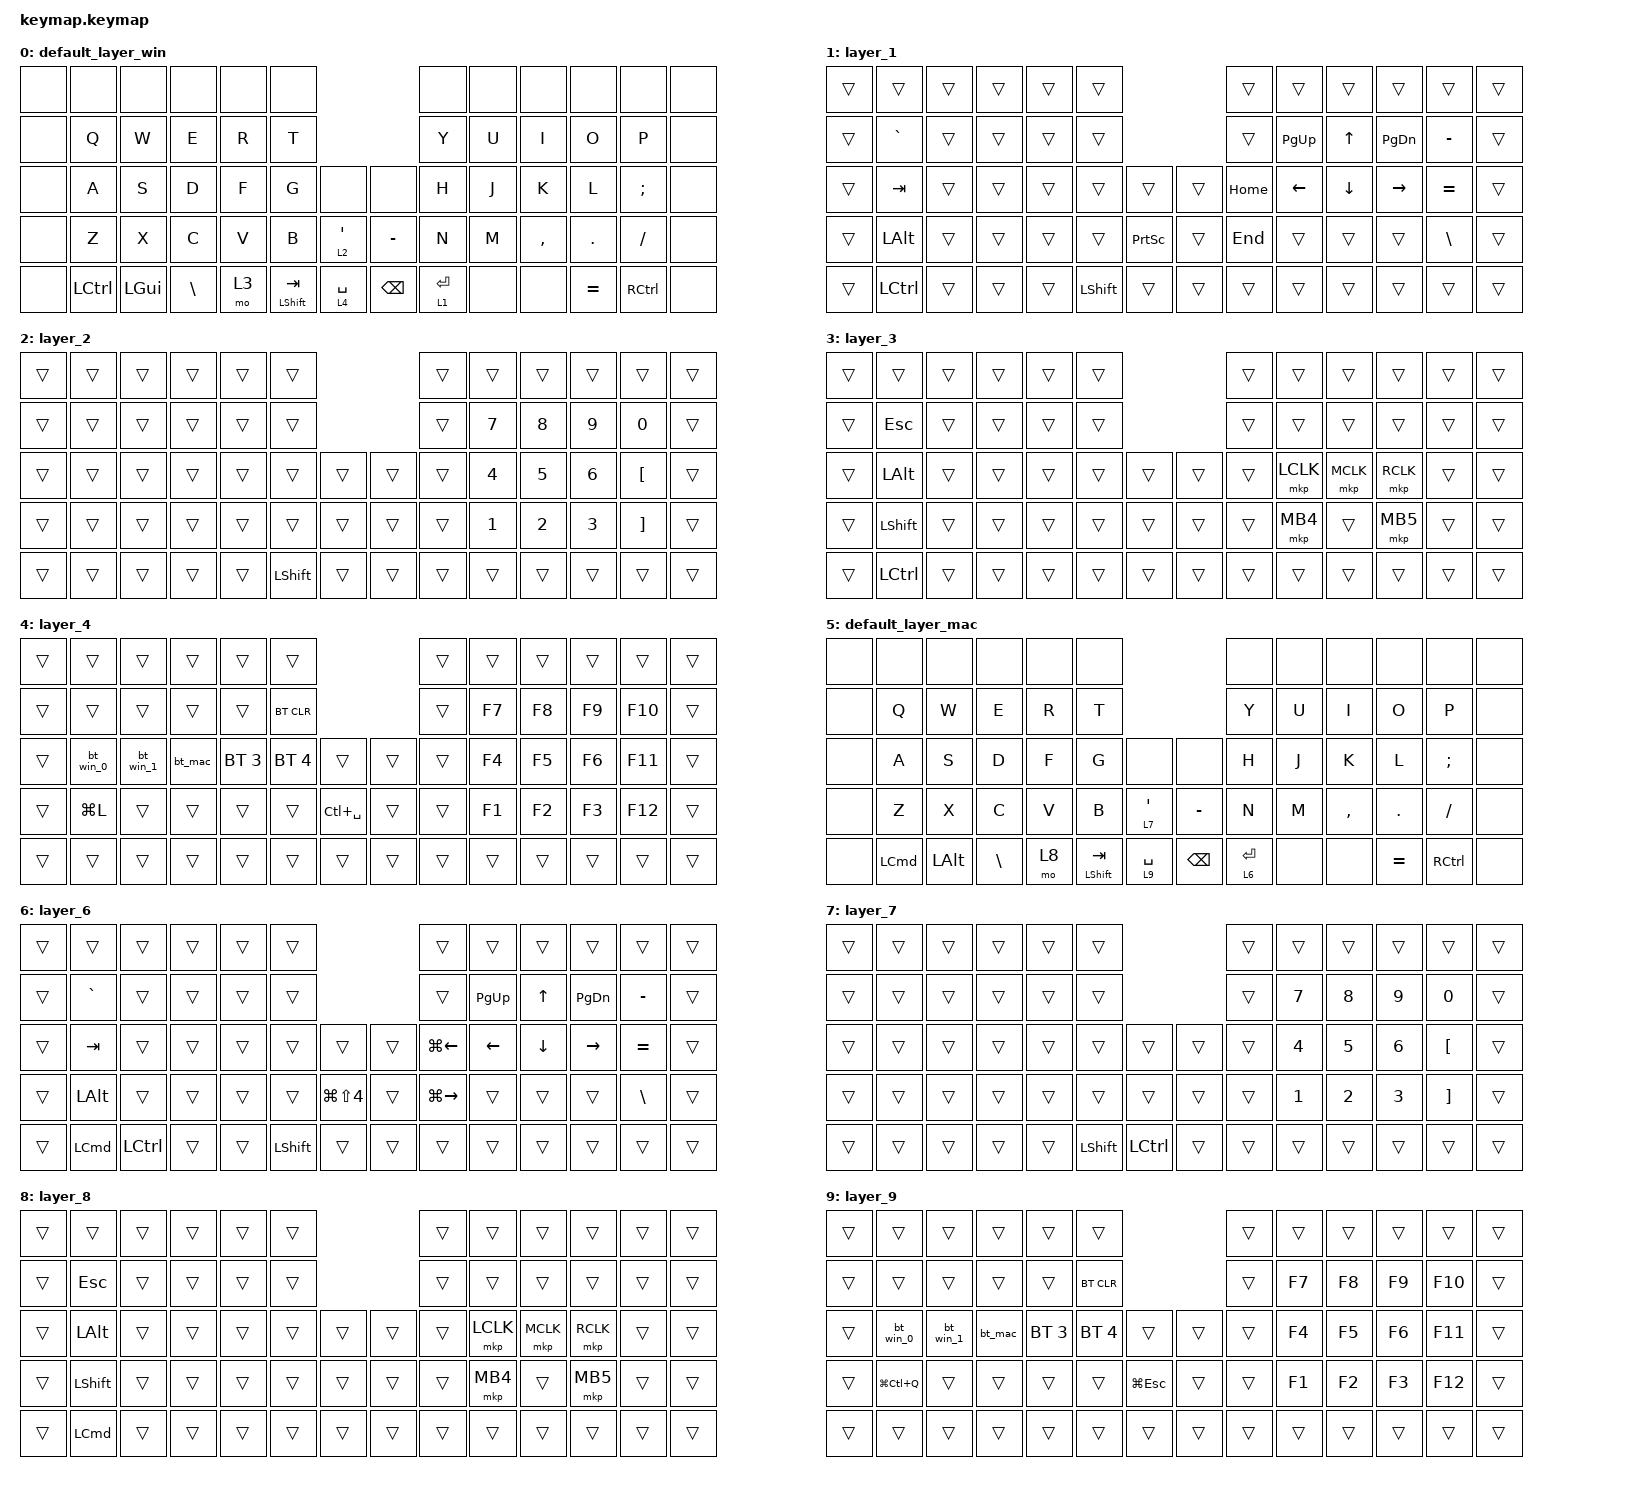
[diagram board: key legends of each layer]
#include <behaviors.dtsi>
#include <dt-bindings/zmk/bt.h>
#include <dt-bindings/zmk/keys.h>
#include <dt-bindings/zmk/pointing.h>

/ {
    zip_mouse_gesture_for_win: zip_mouse_gesture_for_win {
        compatible = "zmk,input-processor-mouse-gesture";
        #input-processor-cells = <0>;
        enable-eager-mode;

        prev_tab {
            pattern = <GESTURE_RIGHT>;
            bindings = <&kp LC(LS(TAB))>;
        };

        next_tab {
            pattern = <GESTURE_LEFT>;
            bindings = <&kp LC(TAB)>;
        };

        vdesk {
            pattern = <GESTURE_DOWN>;
            bindings = <&kp LG(TAB)>;
        };

        vdesk_send_next {
            pattern = <GESTURE_UP>;
            bindings = <&kp LG(LC(LS(RIGHT)))>;
        };
    };

    zip_mouse_gesture_for_mac: zip_mouse_gesture_for_mac {
        compatible = "zmk,input-processor-mouse-gesture";
        #input-processor-cells = <0>;
        enable-eager-mode;

        vdesk_prev {
            pattern = <GESTURE_RIGHT>;
            bindings = <&kp LC(LEFT)>;
        };

        vdesk_next {
            pattern = <GESTURE_LEFT>;
            bindings = <&kp LC(RIGHT)>;
        };

        vdesk {
            pattern = <GESTURE_DOWN>;
            bindings = <&kp LC(UP)>;
        };

        vdesk_down {
            pattern = <GESTURE_UP>;
            bindings = <&kp LC(DOWN)>;
        };
    };

    combos { compatible = "zmk,combos"; };

    macros {
        bt_mac: bt_mac {
            compatible = "zmk,behavior-macro";
            #binding-cells = <0>;
            bindings = <&bt BT_SEL 2 &to 5>;
            label = "BT_MAC";
        };

        bt_win_0: bt_win_0 {
            compatible = "zmk,behavior-macro";
            #binding-cells = <0>;
            bindings = <&bt BT_SEL 0 &to 0>;
            label = "BT_WIN_0";
        };

        bt_win_1: bt_win_1 {
            compatible = "zmk,behavior-macro";
            #binding-cells = <0>;
            bindings = <&bt BT_SEL 1 &to 0>;
            label = "BT_WIN_1";
        };
    };

    keymap {
        compatible = "zmk,keymap";

        default_layer_win {
            bindings = <
&none  &none      &none     &none          &none  &none                                           &none        &none  &none      &none      &none      &none
&none  &kp Q      &kp W     &kp E          &kp R  &kp T                                           &kp Y        &kp U  &kp I      &kp O      &kp P      &none
&none  &kp A      &kp S     &kp D          &kp F  &kp G               &none        &none          &kp H        &kp J  &kp K      &kp L      &kp SEMI   &none
&none  &kp Z      &kp X     &kp C          &kp V  &kp B               &lt 2 SQT    &kp MINUS      &kp N        &kp M  &kp COMMA  &kp DOT    &kp SLASH  &none
&none  &kp LCTRL  &kp LGUI  &kp BACKSLASH  &mo 3  &mt LEFT_SHIFT TAB  &lt 4 SPACE  &kp BACKSPACE  &lt 1 ENTER  &none  &none      &kp EQUAL  &kp RCTRL  &none
            >;
        };

        layer_1 {
            bindings = <
&trans  &trans     &trans  &trans  &trans  &trans                                   &trans    &trans     &trans    &trans         &trans         &trans
&trans  &kp GRAVE  &trans  &trans  &trans  &trans                                   &trans    &kp PG_UP  &kp UP    &kp PAGE_DOWN  &kp MINUS      &trans
&trans  &kp TAB    &trans  &trans  &trans  &trans          &trans           &trans  &kp HOME  &kp LEFT   &kp DOWN  &kp RIGHT      &kp EQUAL      &trans
&trans  &kp LALT   &trans  &trans  &trans  &trans          &kp PRINTSCREEN  &trans  &kp END   &trans     &trans    &trans         &kp BACKSLASH  &trans
&trans  &kp LCTRL  &trans  &trans  &trans  &kp LEFT_SHIFT  &trans           &trans  &trans    &trans     &trans    &trans         &trans         &trans
            >;
        };

        layer_2 {
            bindings = <
&trans  &trans  &trans  &trans  &trans  &trans                      &trans  &trans        &trans        &trans        &trans             &trans
&trans  &trans  &trans  &trans  &trans  &trans                      &trans  &kp N7        &kp N8        &kp N9        &kp N0             &trans
&trans  &trans  &trans  &trans  &trans  &trans      &trans  &trans  &trans  &kp NUMBER_4  &kp N5        &kp NUMBER_6  &kp LEFT_BRACKET   &trans
&trans  &trans  &trans  &trans  &trans  &trans      &trans  &trans  &trans  &kp NUMBER_1  &kp NUMBER_2  &kp NUMBER_3  &kp RIGHT_BRACKET  &trans
&trans  &trans  &trans  &trans  &trans  &kp LSHIFT  &trans  &trans  &trans  &trans        &trans        &trans        &trans             &trans
            >;
        };

        layer_3 {
            bindings = <
&trans  &trans          &trans  &trans  &trans  &trans                  &trans  &trans     &trans     &trans     &trans  &trans
&trans  &kp ESCAPE      &trans  &trans  &trans  &trans                  &trans  &trans     &trans     &trans     &trans  &trans
&trans  &kp LEFT_ALT    &trans  &trans  &trans  &trans  &trans  &trans  &trans  &mkp LCLK  &mkp MCLK  &mkp RCLK  &trans  &trans
&trans  &kp LEFT_SHIFT  &trans  &trans  &trans  &trans  &trans  &trans  &trans  &mkp MB4   &trans     &mkp MB5   &trans  &trans
&trans  &kp LCTRL       &trans  &trans  &trans  &trans  &trans  &trans  &trans  &trans     &trans     &trans     &trans  &trans
            >;
        };

        layer_4 {
            bindings = <
&trans  &trans     &trans     &trans   &trans        &trans                               &trans  &trans  &trans  &trans  &trans   &trans
&trans  &trans     &trans     &trans   &trans        &bt BT_CLR                           &trans  &kp F7  &kp F8  &kp F9  &kp F10  &trans
&trans  &bt_win_0  &bt_win_1  &bt_mac  &bt BT_SEL 3  &bt BT_SEL 4  &trans         &trans  &trans  &kp F4  &kp F5  &kp F6  &kp F11  &trans
&trans  &kp LG(L)  &trans     &trans   &trans        &trans        &kp LC(SPACE)  &trans  &trans  &kp F1  &kp F2  &kp F3  &kp F12  &trans
&trans  &trans     &trans     &trans   &trans        &trans        &trans         &trans  &trans  &trans  &trans  &trans  &trans   &trans
            >;
        };

        default_layer_mac {
            bindings = <
&none  &none             &none     &none          &none  &none                                           &none        &none  &none      &none      &none      &none
&none  &kp Q             &kp W     &kp E          &kp R  &kp T                                           &kp Y        &kp U  &kp I      &kp O      &kp P      &none
&none  &kp A             &kp S     &kp D          &kp F  &kp G               &none        &none          &kp H        &kp J  &kp K      &kp L      &kp SEMI   &none
&none  &kp Z             &kp X     &kp C          &kp V  &kp B               &lt 7 SQT    &kp MINUS      &kp N        &kp M  &kp COMMA  &kp DOT    &kp SLASH  &none
&none  &kp LEFT_COMMAND  &kp LALT  &kp BACKSLASH  &mo 8  &mt LEFT_SHIFT TAB  &lt 9 SPACE  &kp BACKSPACE  &lt 6 ENTER  &none  &none      &kp EQUAL  &kp RCTRL  &none
            >;
        };

        layer_6 {
            bindings = <
&trans  &trans            &trans     &trans  &trans  &trans                                        &trans         &trans     &trans    &trans         &trans         &trans
&trans  &kp GRAVE         &trans     &trans  &trans  &trans                                        &trans         &kp PG_UP  &kp UP    &kp PAGE_DOWN  &kp MINUS      &trans
&trans  &kp TAB           &trans     &trans  &trans  &trans          &trans                &trans  &kp LG(LEFT)   &kp LEFT   &kp DOWN  &kp RIGHT      &kp EQUAL      &trans
&trans  &kp LALT          &trans     &trans  &trans  &trans          &kp LG(LS(NUMBER_4))  &trans  &kp LG(RIGHT)  &trans     &trans    &trans         &kp BACKSLASH  &trans
&trans  &kp LEFT_COMMAND  &kp LCTRL  &trans  &trans  &kp LEFT_SHIFT  &trans                &trans  &trans         &trans     &trans    &trans         &trans         &trans
            >;
        };

        layer_7 {
            bindings = <
&trans  &trans  &trans  &trans  &trans  &trans                         &trans  &trans        &trans        &trans        &trans             &trans
&trans  &trans  &trans  &trans  &trans  &trans                         &trans  &kp N7        &kp N8        &kp N9        &kp N0             &trans
&trans  &trans  &trans  &trans  &trans  &trans      &trans     &trans  &trans  &kp NUMBER_4  &kp N5        &kp NUMBER_6  &kp LEFT_BRACKET   &trans
&trans  &trans  &trans  &trans  &trans  &trans      &trans     &trans  &trans  &kp NUMBER_1  &kp NUMBER_2  &kp NUMBER_3  &kp RIGHT_BRACKET  &trans
&trans  &trans  &trans  &trans  &trans  &kp LSHIFT  &kp LCTRL  &trans  &trans  &trans        &trans        &trans        &trans             &trans
            >;
        };

        layer_8 {
            bindings = <
&trans  &trans            &trans  &trans  &trans  &trans                  &trans  &trans     &trans     &trans     &trans  &trans
&trans  &kp ESCAPE        &trans  &trans  &trans  &trans                  &trans  &trans     &trans     &trans     &trans  &trans
&trans  &kp LEFT_ALT      &trans  &trans  &trans  &trans  &trans  &trans  &trans  &mkp LCLK  &mkp MCLK  &mkp RCLK  &trans  &trans
&trans  &kp LEFT_SHIFT    &trans  &trans  &trans  &trans  &trans  &trans  &trans  &mkp MB4   &trans     &mkp MB5   &trans  &trans
&trans  &kp LEFT_COMMAND  &trans  &trans  &trans  &trans  &trans  &trans  &trans  &trans     &trans     &trans     &trans  &trans
            >;
        };

        layer_9 {
            bindings = <
&trans  &trans         &trans     &trans   &trans        &trans                                &trans  &trans  &trans  &trans  &trans   &trans
&trans  &trans         &trans     &trans   &trans        &bt BT_CLR                            &trans  &kp F7  &kp F8  &kp F9  &kp F10  &trans
&trans  &bt_win_0      &bt_win_1  &bt_mac  &bt BT_SEL 3  &bt BT_SEL 4  &trans          &trans  &trans  &kp F4  &kp F5  &kp F6  &kp F11  &trans
&trans  &kp LG(LC(Q))  &trans     &trans   &trans        &trans        &kp LG(ESCAPE)  &trans  &trans  &kp F1  &kp F2  &kp F3  &kp F12  &trans
&trans  &trans         &trans     &trans   &trans        &trans        &trans          &trans  &trans  &trans  &trans  &trans  &trans   &trans
            >;
        };
    };
};
